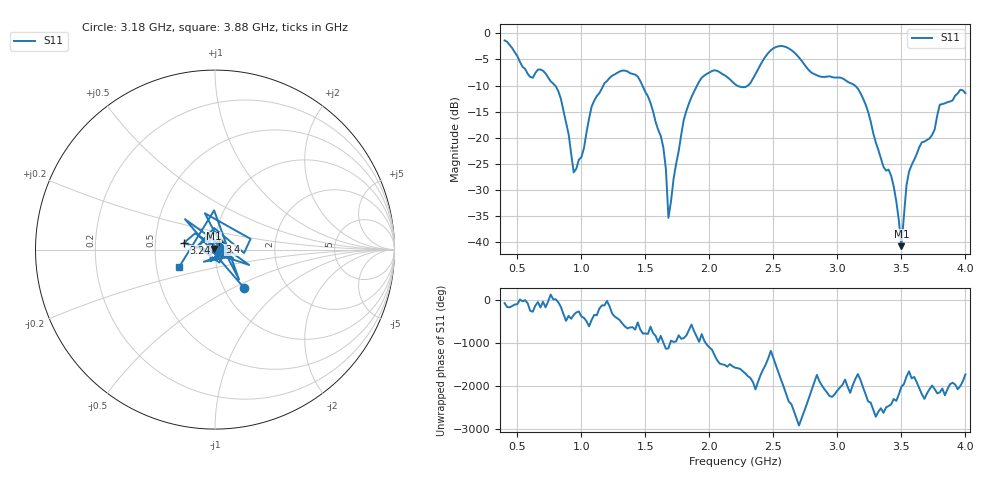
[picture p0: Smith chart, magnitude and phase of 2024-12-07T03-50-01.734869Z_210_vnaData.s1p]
!Created with skrf (http://scikit-rf.org).
# Hz S RI R 50.0
!freq ReS11 ImS11
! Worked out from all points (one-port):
!   181 points, 400 MHz to 4 GHz, reference 50 ohm
!   lowest |S11| = -40.8 dB at 3.5 GHz (marker M1), VSWR 1.02, Z = 49.2 + j0.481 ohm
!   |S11| at or under -10 dB: 794.3 MHz to 1.171 GHz (377 MHz wide, 38.4 % of centre); 1.476 GHz to 1.904 GHz (427.6 MHz wide, 25.3 % of centre); 3.137 GHz to end of sweep (the widest 3 of 4)
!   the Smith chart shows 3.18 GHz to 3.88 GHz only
!   S11 on the Smith chart (normalised r, x): 3.18 GHz: 1.24, -0.57; 3.24 GHz: 0.70, +0.05; 3.4 GHz: 1.05, +0.09; 3.88 GHz: 0.66, -0.13
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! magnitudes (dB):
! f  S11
! 400 MHz  -1.4
! 600 MHz  -8.4
! 720 MHz  -7.7
! 860 MHz  -14.9
! 940 MHz  -26.7
! 1.1 GHz  -12.9
! 1.3 GHz  -7.3
! 1.54 GHz  -13.3
! 1.64 GHz  -21.9
! 1.66 GHz  -26.0
! 1.68 GHz  -35.4
! 1.76 GHz  -22.6
! 1.82 GHz  -14.9
! 1.94 GHz  -8.5
! 2.2 GHz  -9.8
! 2.5 GHz  -2.9
! 2.66 GHz  -3.6
! 3.1 GHz  -9.5
! 3.18 GHz  -11.4
! 3.24 GHz  -15.0
! 3.4 GHz  -26.1
! 3.46 GHz  -32.2
! 3.5 GHz  -40.8
! 3.56 GHz  -26.5
! 3.76 GHz  -18.4
! 3.8 GHz  -13.7
! 3.88 GHz  -13.1
! 4 GHz  -11.5
